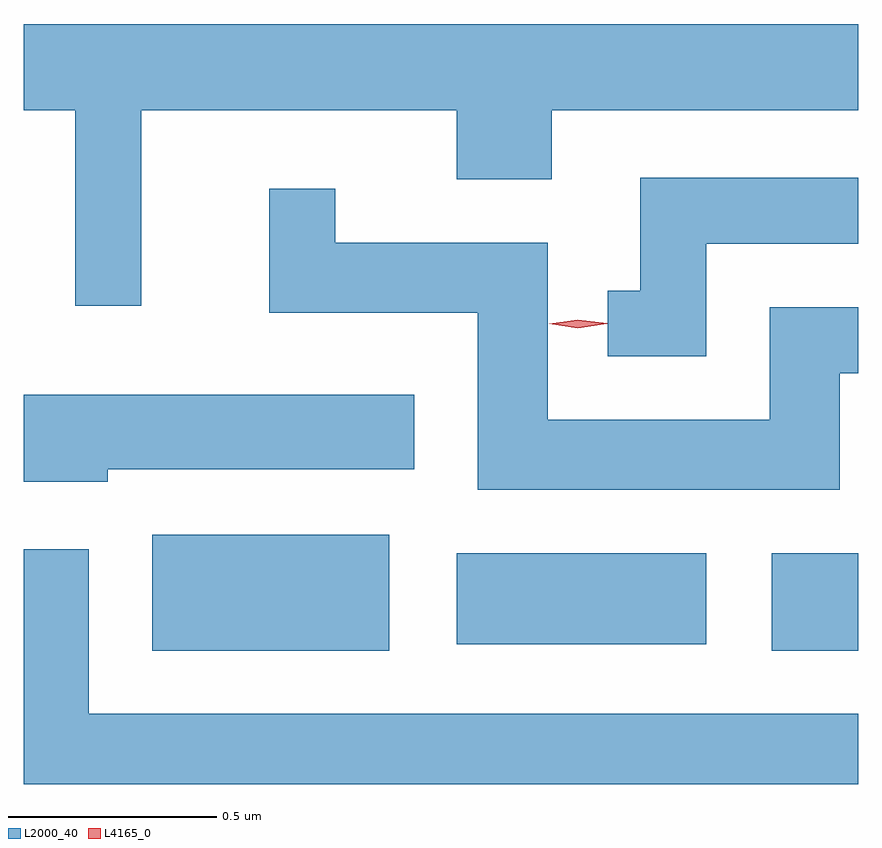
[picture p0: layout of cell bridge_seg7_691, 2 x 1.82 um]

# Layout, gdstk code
import gdstk
lib = gdstk.Library(unit=1e-6, precision=1e-09)
def R(c, l, rs):  # rectangles x0, y0, x1, y1
    for r in rs: c.add(gdstk.rectangle(r[:2], r[2:], *l))
def P(c, l, *ps):  # polygons
    for p in ps: c.add(gdstk.Polygon(p, *l))
L2000_40 = (2000, 40)
L4165_0 = (4165, 0)

bridge_seg7_691 = lib.new_cell('bridge_seg7_691')
R(bridge_seg7_691, L2000_40, [(828.721,1668.621,829.289,1668.899), (830.206,1668.621,830.413,1668.854), (829.451,1668.636,830.049,1668.854)])
P(bridge_seg7_691, L2000_40, [(828.694,1669.916),(829.451,1669.916),(829.451,1669.751),(829.679,1669.751),(829.679,1669.916),(830.413,1669.916),(830.413,1670.123),(828.413,1670.123),(828.413,1669.916),(828.536,1669.916),(828.536,1669.448),(828.694,1669.448)],
  [(830.049,1669.596),(830.413,1669.596),(830.413,1669.754),(829.891,1669.754),(829.891,1669.484),(829.813,1669.484),(829.813,1669.326),(830.049,1669.326)],
  [(830.369,1669.286),(830.413,1669.286),(830.413,1669.444),(830.201,1669.444),(830.201,1669.174),(829.669,1669.174),(829.669,1669.599),(829.159,1669.599),(829.159,1669.728),(829.001,1669.728),(829.001,1669.431),(829.501,1669.431),(829.501,1669.006),(830.369,1669.006)],
  [(828.614,1669.056),(829.349,1669.056),(829.349,1669.234),(828.413,1669.234),(828.413,1669.026),(828.614,1669.026)],
  [(830.413,1668.469),(828.569,1668.469),(828.569,1668.864),(828.413,1668.864),(828.413,1668.301),(830.413,1668.301)])
P(bridge_seg7_691, L4165_0, [(829.741,1669.394),(829.672,1669.404),(829.672,1669.404),(829.672,1669.404),(829.741,1669.414),(829.811,1669.405),(829.811,1669.405),(829.811,1669.404)])

lib.write_gds('bridge_seg7_691.gds')
